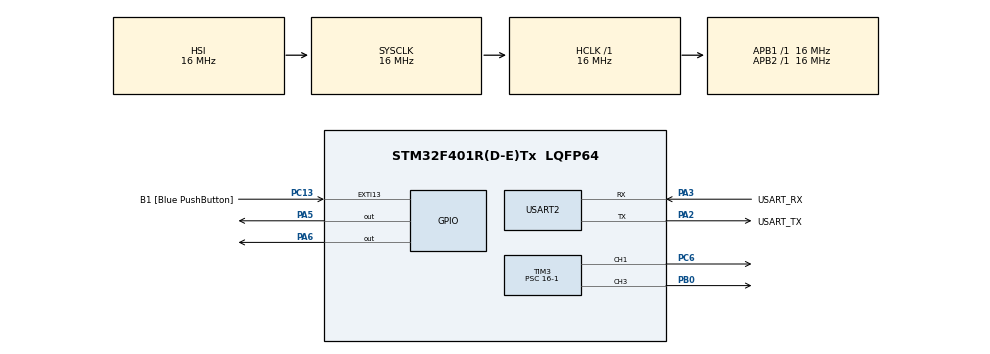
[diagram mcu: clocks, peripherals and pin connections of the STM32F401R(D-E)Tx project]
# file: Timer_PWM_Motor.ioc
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Mcu.Family=STM32F4
Mcu.Name=STM32F401R(D-E)Tx
Mcu.Package=LQFP64
NVIC.PriorityGroup=NVIC_PRIORITYGROUP_4
PA13.GPIO_Label=TMS
PA13.Mode=Trace_Asynchronous_SW
PA13.Signal=SYS_JTMS-SWDIO
PA14.GPIO_Label=TCK
PA14.Mode=Trace_Asynchronous_SW
PA14.Signal=SYS_JTCK-SWCLK
PA2.GPIO_Label=USART_TX
PA2.GPIO_Mode=GPIO_MODE_AF_PP
PA2.GPIO_PuPd=GPIO_NOPULL
PA2.GPIO_Speed=GPIO_SPEED_FREQ_LOW
PA2.Mode=Asynchronous
PA2.Signal=USART2_TX
PA3.GPIO_Label=USART_RX
PA3.GPIO_Mode=GPIO_MODE_AF_PP
PA3.GPIO_PuPd=GPIO_NOPULL
PA3.GPIO_Speed=GPIO_SPEED_FREQ_LOW
PA3.Mode=Asynchronous
PA3.Signal=USART2_RX
PA5.Signal=GPIO_Output
PA6.Signal=GPIO_Output
PB0.Signal=S_TIM3_CH3
PB3.GPIO_Label=SWO
PB3.Mode=Trace_Asynchronous_SW
PB3.Signal=SYS_JTDO-SWO
PC13-ANTI_TAMP.GPIO_Label=B1 [Blue PushButton]
PC13-ANTI_TAMP.GPIO_ModeDefaultEXTI=GPIO_MODE_IT_FALLING
PC13-ANTI_TAMP.GPIO_PuPd=GPIO_NOPULL
PC13-ANTI_TAMP.Signal=GPXTI13
PC14-OSC32_IN.Mode=LSE-External-Oscillator
PC14-OSC32_IN.Signal=RCC_OSC32_IN
PC15-OSC32_OUT.Mode=LSE-External-Oscillator
PC15-OSC32_OUT.Signal=RCC_OSC32_OUT
PC6.Signal=S_TIM3_CH1
PH0\ -\ OSC_IN.Mode=HSE-External-Clock-Source
PH0\ -\ OSC_IN.Signal=RCC_OSC_IN
PH1\ -\ OSC_OUT.Mode=HSE-External-Clock-Source
PH1\ -\ OSC_OUT.Signal=RCC_OSC_OUT
ProjectManager.HeapSize=0x200
ProjectManager.StackSize=0x400
ProjectManager.TargetToolchain=STM32CubeIDE
RCC.48MHZClocksFreq_Value=48000000
RCC.AHBFreq_Value=16000000
RCC.APB1Freq_Value=16000000
RCC.APB1TimFreq_Value=16000000
RCC.APB2Freq_Value=16000000
RCC.APB2TimFreq_Value=16000000
RCC.CortexFreq_Value=16000000
RCC.HCLKFreq_Value=16000000
RCC.HSE_VALUE=8000000
RCC.HSI_VALUE=16000000
RCC.PLLN=336
RCC.PLLP=RCC_PLLP_DIV4
RCC.PLLQ=7
RCC.SYSCLKFreq_VALUE=16000000
RCC.VCOOutputFreq_Value=336000000
SH.S_TIM3_CH1.0=TIM3_CH1,PWM Generation1 CH1
SH.S_TIM3_CH3.0=TIM3_CH3,PWM Generation3 CH3
TIM3.AutoReloadPreload=TIM_AUTORELOAD_PRELOAD_ENABLE
TIM3.Channel-PWM\ Generation1\ CH1=TIM_CHANNEL_1
TIM3.Channel-PWM\ Generation3\ CH3=TIM_CHANNEL_3
TIM3.Period=2000-1
TIM3.Prescaler=16-1
USART2.VirtualMode=VM_ASYNC
VP_TIM3_VS_ClockSourceINT.Mode=Internal
board=NUCLEO-F401RE

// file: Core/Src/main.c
/* USER CODE BEGIN Header */
/**
  ******************************************************************************
  * @file           : main.c
  * @brief          : Main program body
  ******************************************************************************
  * @attention
  *
  * Copyright (c) 2026 STMicroelectronics.
  * All rights reserved.
  *
  * This software is licensed under terms that can be found in the LICENSE file
  * in the root directory of this software component.
  * If no LICENSE file comes with this software, it is provided AS-IS.
  *
  ******************************************************************************
  */
/* USER CODE END Header */
#include "main.h"

TIM_HandleTypeDef htim3;

UART_HandleTypeDef huart2;

void SystemClock_Config(void);
static void MX_GPIO_Init(void);
static void MX_USART2_UART_Init(void);
static void MX_TIM3_Init(void);

int main(void)
{

  /* MCU Configuration--------------------------------------------------------*/

  /* Reset of all peripherals, Initializes the Flash interface and the Systick. */
  HAL_Init();

  /* Configure the system clock */
  SystemClock_Config();

  /* Initialize all configured peripherals */
  MX_GPIO_Init();
  MX_USART2_UART_Init();
  MX_TIM3_Init();

  /* USER CODE BEGIN 2 */
  HAL_TIM_PWM_Start(&htim3, TIM_CHANNEL_1);
  HAL_TIM_PWM_Start(&htim3, TIM_CHANNEL_3);

  __HAL_TIM_SET_COMPARE(&htim3, TIM_CHANNEL_1, 1200); // PC6 / TIM3_CH1 forward PWM
  __HAL_TIM_SET_COMPARE(&htim3, TIM_CHANNEL_3, 0);    // PB0 / TIM3_CH3 reverse off
  /* USER CODE END 2 */

  /* Infinite loop */
  /* USER CODE BEGIN WHILE */
  while (1)
  {
      // Forward
      __HAL_TIM_SET_COMPARE(&htim3, TIM_CHANNEL_1, 1200); // PC6 / IA
      __HAL_TIM_SET_COMPARE(&htim3, TIM_CHANNEL_3, 0);    // PB0 / IB
      HAL_Delay(3000);

      // Stop
      __HAL_TIM_SET_COMPARE(&htim3, TIM_CHANNEL_1, 0);
      __HAL_TIM_SET_COMPARE(&htim3, TIM_CHANNEL_3, 0);
      HAL_Delay(1000);

      // Reverse
      __HAL_TIM_SET_COMPARE(&htim3, TIM_CHANNEL_1, 0);    // PC6 / IA
      __HAL_TIM_SET_COMPARE(&htim3, TIM_CHANNEL_3, 1200); // PB0 / IB
      HAL_Delay(3000);

      // Stop
      __HAL_TIM_SET_COMPARE(&htim3, TIM_CHANNEL_1, 0);
      __HAL_TIM_SET_COMPARE(&htim3, TIM_CHANNEL_3, 0);
      HAL_Delay(1000);

    /* USER CODE END WHILE */

  }
}

void SystemClock_Config(void)
{
  RCC_OscInitTypeDef RCC_OscInitStruct = {0};
  RCC_ClkInitTypeDef RCC_ClkInitStruct = {0};

  /** Configure the main internal regulator output voltage
  */
  __HAL_RCC_PWR_CLK_ENABLE();
  __HAL_PWR_VOLTAGESCALING_CONFIG(PWR_REGULATOR_VOLTAGE_SCALE2);

  /** Initializes the RCC Oscillators according to the specified parameters
  * in the RCC_OscInitTypeDef structure.
  */
  RCC_OscInitStruct.OscillatorType = RCC_OSCILLATORTYPE_HSI;
  RCC_OscInitStruct.HSIState = RCC_HSI_ON;
  RCC_OscInitStruct.HSICalibrationValue = RCC_HSICALIBRATION_DEFAULT;
  RCC_OscInitStruct.PLL.PLLState = RCC_PLL_NONE;
  if (HAL_RCC_OscConfig(&RCC_OscInitStruct) != HAL_OK)
  {
    Error_Handler();
  }

  /** Initializes the CPU, AHB and APB buses clocks
  */
  RCC_ClkInitStruct.ClockType = RCC_CLOCKTYPE_HCLK|RCC_CLOCKTYPE_SYSCLK
                              |RCC_CLOCKTYPE_PCLK1|RCC_CLOCKTYPE_PCLK2;
  RCC_ClkInitStruct.SYSCLKSource = RCC_SYSCLKSOURCE_HSI;
  RCC_ClkInitStruct.AHBCLKDivider = RCC_SYSCLK_DIV1;
  RCC_ClkInitStruct.APB1CLKDivider = RCC_HCLK_DIV1;
  RCC_ClkInitStruct.APB2CLKDivider = RCC_HCLK_DIV1;

  if (HAL_RCC_ClockConfig(&RCC_ClkInitStruct, FLASH_LATENCY_0) != HAL_OK)
  {
    Error_Handler();
  }
}

static void MX_TIM3_Init(void)
{

  TIM_ClockConfigTypeDef sClockSourceConfig = {0};
  TIM_MasterConfigTypeDef sMasterConfig = {0};
  TIM_OC_InitTypeDef sConfigOC = {0};

  htim3.Instance = TIM3;
  htim3.Init.Prescaler = 16-1;
  htim3.Init.CounterMode = TIM_COUNTERMODE_UP;
  htim3.Init.Period = 2000-1;
  htim3.Init.ClockDivision = TIM_CLOCKDIVISION_DIV1;
  htim3.Init.AutoReloadPreload = TIM_AUTORELOAD_PRELOAD_ENABLE;
  if (HAL_TIM_Base_Init(&htim3) != HAL_OK)
  {
    Error_Handler();
  }
  sClockSourceConfig.ClockSource = TIM_CLOCKSOURCE_INTERNAL;
  if (HAL_TIM_ConfigClockSource(&htim3, &sClockSourceConfig) != HAL_OK)
  {
    Error_Handler();
  }
  if (HAL_TIM_PWM_Init(&htim3) != HAL_OK)
  {
    Error_Handler();
  }
  sMasterConfig.MasterOutputTrigger = TIM_TRGO_RESET;
  sMasterConfig.MasterSlaveMode = TIM_MASTERSLAVEMODE_DISABLE;
  if (HAL_TIMEx_MasterConfigSynchronization(&htim3, &sMasterConfig) != HAL_OK)
  {
    Error_Handler();
  }
  sConfigOC.OCMode = TIM_OCMODE_PWM1;
  sConfigOC.Pulse = 0;
  sConfigOC.OCPolarity = TIM_OCPOLARITY_HIGH;
  sConfigOC.OCFastMode = TIM_OCFAST_DISABLE;
  if (HAL_TIM_PWM_ConfigChannel(&htim3, &sConfigOC, TIM_CHANNEL_1) != HAL_OK)
  {
    Error_Handler();
  }
  if (HAL_TIM_PWM_ConfigChannel(&htim3, &sConfigOC, TIM_CHANNEL_3) != HAL_OK)
  {
    Error_Handler();
  }
  HAL_TIM_MspPostInit(&htim3);

}

static void MX_USART2_UART_Init(void)
{

  huart2.Instance = USART2;
  huart2.Init.BaudRate = 115200;
  huart2.Init.WordLength = UART_WORDLENGTH_8B;
  huart2.Init.StopBits = UART_STOPBITS_1;
  huart2.Init.Parity = UART_PARITY_NONE;
  huart2.Init.Mode = UART_MODE_TX_RX;
  huart2.Init.HwFlowCtl = UART_HWCONTROL_NONE;
  huart2.Init.OverSampling = UART_OVERSAMPLING_16;
  if (HAL_UART_Init(&huart2) != HAL_OK)
  {
    Error_Handler();
  }

}

static void MX_GPIO_Init(void)
{
  GPIO_InitTypeDef GPIO_InitStruct = {0};

  /* GPIO Ports Clock Enable */
  __HAL_RCC_GPIOC_CLK_ENABLE();
  __HAL_RCC_GPIOH_CLK_ENABLE();
  __HAL_RCC_GPIOA_CLK_ENABLE();
  __HAL_RCC_GPIOB_CLK_ENABLE();

  /*Configure GPIO pin Output Level */
  HAL_GPIO_WritePin(GPIOA, GPIO_PIN_5|GPIO_PIN_6, GPIO_PIN_RESET);

  /*Configure GPIO pin : B1_Pin */
  GPIO_InitStruct.Pin = B1_Pin;
  GPIO_InitStruct.Mode = GPIO_MODE_IT_FALLING;
  GPIO_InitStruct.Pull = GPIO_NOPULL;
  HAL_GPIO_Init(B1_GPIO_Port, &GPIO_InitStruct);

  /*Configure GPIO pins : PA5 PA6 */
  GPIO_InitStruct.Pin = GPIO_PIN_5|GPIO_PIN_6;
  GPIO_InitStruct.Mode = GPIO_MODE_OUTPUT_PP;
  GPIO_InitStruct.Pull = GPIO_NOPULL;
  GPIO_InitStruct.Speed = GPIO_SPEED_FREQ_LOW;
  HAL_GPIO_Init(GPIOA, &GPIO_InitStruct);

}

void Error_Handler(void)
{
  __disable_irq();
  while (1)
  {
  }
}
